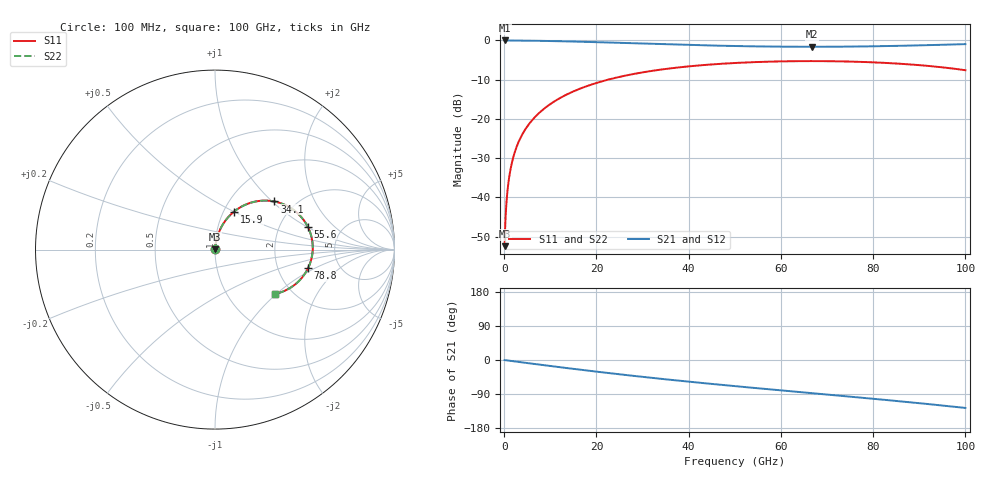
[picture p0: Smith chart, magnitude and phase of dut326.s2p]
! Touchstone file exported from HFSS 2026.1.0
!  File:  C:/ffzhzh/LocalFiles/Ansys_Project_Files/temp_train_RDL_326_1783502812_55944.aedt
!  Generated:  05:28:12 PM Jul  8, 2026
!  Design:  RDL
!  Project:  temp_train_RDL_326_1783502812_55944
! Variables:
!  h_bsmrdl = 2um
!  h_ox = 20um
!  h_rdl = 5um
!  h_sub = 80um
!  h_tmrdl = 4.88um
!  h_tsv = 80um
!  h_via = 3um
!  l_bsmrdl = 300um
!  l_sub = 831.54um
!  l_tmrdl = 431.54um
!  m_sub = 200um
!  pitch = 49.71um
!  r_tsv = 6um
!  s_tmrdl = 10um
!  w_bsmrdl = 18um
!  w_sub = 500um
!  w_tmrdl = 21.81um
!  x_tsv_center1 = 442.445um
!  x_tsv_center2 = 760.445um
!  x_tsv_center3 = 1213.795um
!  x_tsv_center4 = 1531.795um
!  x_tsv_center5 = 1985.145um
!  x_tsv_center6 = 2303.145um
# GHz S MA R 50.000000
! Terminal data exported
! Port[1] = TM_RDL1_1_T1
! Port[2] = TM_RDL1_1_T2
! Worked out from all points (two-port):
!   1000 points, 100 MHz to 100 GHz, reference 50 ohm
!   highest |S21| = -0.01 dB at 100 MHz (marker M1); lowest = -1.6 dB at 66.7 GHz (marker M2)
!   |S21| within 3 dB of the highest: start of sweep to end of sweep
!   lowest |S11| = -52.4 dB at 100 MHz (marker M3), VSWR 1.00, Z = 50.2 + j0.178 ohm
!   |S11| at or under -10 dB: start of sweep to 22.56 GHz
!   |S22| runs from -52.4 to -5.3 dB; largest |S21 - S12| = 1.6e-14
!   S11 on the Smith chart (normalised r, x): 100 MHz: 1.00, +0.00; 15.9 GHz: 1.12, +0.50; 34.1 GHz: 1.57, +1.03; 55.6 GHz: 2.86, +1.03; 78.8 GHz: 2.97, -0.85; 100 GHz: 1.65, -0.98
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0.1  0.002386 48.0  0.9984 -0.2  0.9984 -0.2  0.002386 48.0
! Gamma 0 0 0 0
! Port Impedance 50 0 50 0
0.4  0.006981 74.1  0.9981 -0.7  0.9981 -0.7  0.006981 74.1
0.8  0.01337 80.2  0.9979 -1.3  0.9979 -1.3  0.01337 80.2
1.1  0.01822 81.7  0.9978 -1.8  0.9978 -1.8  0.01822 81.7
1.4  0.02307 82.3  0.9976 -2.3  0.9976 -2.3  0.02307 82.3
1.9  0.03114 82.5  0.9971 -3.1  0.9971 -3.1  0.03114 82.5
2.4  0.03916 82.3  0.9966 -3.9  0.9966 -3.9  0.03916 82.3
3.7  0.05973 80.8  0.9949 -6.0  0.9949 -6.0  0.05973 80.8
5.7  0.09059 78.1  0.9916 -9.1  0.9916 -9.1  0.09059 78.1
8.4  0.131 74.3  0.986 -13.3  0.986 -13.3  0.131 74.3
11.8  0.18 69.4  0.9773 -18.6  0.9773 -18.6  0.18 69.4
15.9  0.2355 63.5  0.9646 -24.7  0.9646 -24.7  0.2355 63.5
16.8  0.2471 62.2  0.9615 -26.0  0.9615 -26.0  0.2471 62.2
24.2  0.3342 52.0  0.934 -36.6  0.934 -36.6  0.3342 52.0
33.4  0.4201 39.9  0.8984 -48.9  0.8984 -48.9  0.4201 39.9
34.1  0.4256 39.0  0.8958 -49.8  0.8958 -49.8  0.4256 39.0
50.1  0.5156 20.1  0.8475 -69.0  0.8475 -69.0  0.5156 20.1
55.6  0.532 14.0  0.8375 -75.2  0.8375 -75.2  0.532 14.0
66.7  0.5448 1.9  0.8293 -87.5  0.8293 -87.5  0.5448 1.9
78.8  0.5287 -11.3  0.8391 -100.9  0.8391 -100.9  0.5287 -11.3
83.4  0.514 -16.5  0.8477 -106.2  0.8477 -106.2  0.514 -16.5
100  0.4168 -36.3  0.8969 -126.5  0.8969 -126.5  0.4168 -36.3
